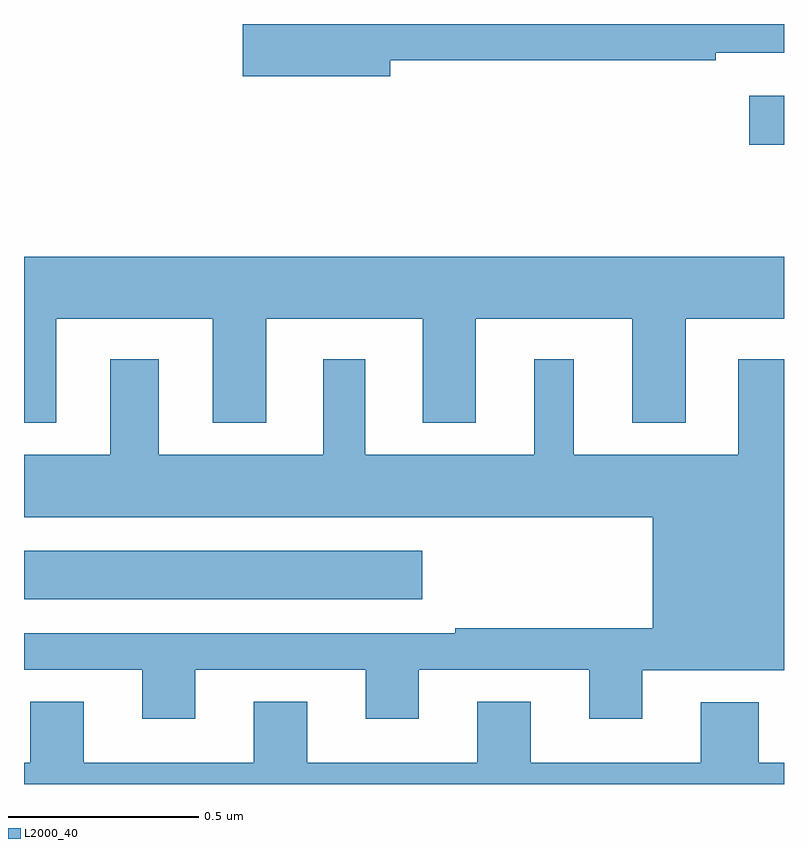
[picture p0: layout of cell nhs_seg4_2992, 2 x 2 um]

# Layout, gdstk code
import gdstk
lib = gdstk.Library(unit=1e-6, precision=1e-09)
def R(c, l, rs):  # rectangles x0, y0, x1, y1
    for r in rs: c.add(gdstk.rectangle(r[:2], r[2:], *l))
def P(c, l, *ps):  # polygons
    for p in ps: c.add(gdstk.Polygon(p, *l))
L2000_40 = (2000, 40)

nhs_seg4_2992 = lib.new_cell('nhs_seg4_2992')
R(nhs_seg4_2992, L2000_40, [(147,825.386,148.048,825.514), (148.908,826.582,149,826.711)])
P(nhs_seg4_2992, L2000_40, [(147.964,826.804),(148.82,826.804),(148.82,826.824),(149,826.824),(149,826.9),(147.576,826.9),(147.576,826.762),(147.964,826.762)],
  [(147.085,826.124),(147.497,826.124),(147.497,825.851),(147.637,825.851),(147.637,826.124),(148.049,826.124),(148.049,825.851),(148.189,825.851),(148.189,826.124),(148.601,826.124),(148.601,825.851),(148.741,825.851),(148.741,826.124),(149,826.124),(149,826.288),(147,826.288),(147,825.851),(147.085,825.851)],
  [(147.451,825.201),(147.899,825.201),(147.899,825.072),(148.039,825.072),(148.039,825.201),(148.487,825.201),(148.487,825.072),(148.627,825.072),(148.627,825.2),(149,825.2),(149,826.018),(148.88,826.018),(148.88,825.766),(148.447,825.766),(148.447,826.018),(148.343,826.018),(148.343,825.766),(147.898,825.766),(147.898,826.018),(147.788,826.018),(147.788,825.766),(147.355,825.766),(147.355,826.018),(147.227,826.018),(147.227,825.766),(147,825.766),(147,825.602),(148.655,825.602),(148.655,825.31),(148.135,825.31),(148.135,825.297),(147,825.297),(147,825.201),(147.311,825.201),(147.311,825.072),(147.451,825.072)],
  [(149,824.956),(148.934,824.956),(148.934,825.115),(148.781,825.115),(148.781,824.956),(148.333,824.956),(148.333,825.116),(148.193,825.116),(148.193,824.956),(147.745,824.956),(147.745,825.116),(147.605,825.116),(147.605,824.956),(147.157,824.956),(147.157,825.116),(147.017,825.116),(147.017,824.956),(147,824.956),(147,824.9),(149,824.9)])

lib.write_gds('nhs_seg4_2992.gds')
